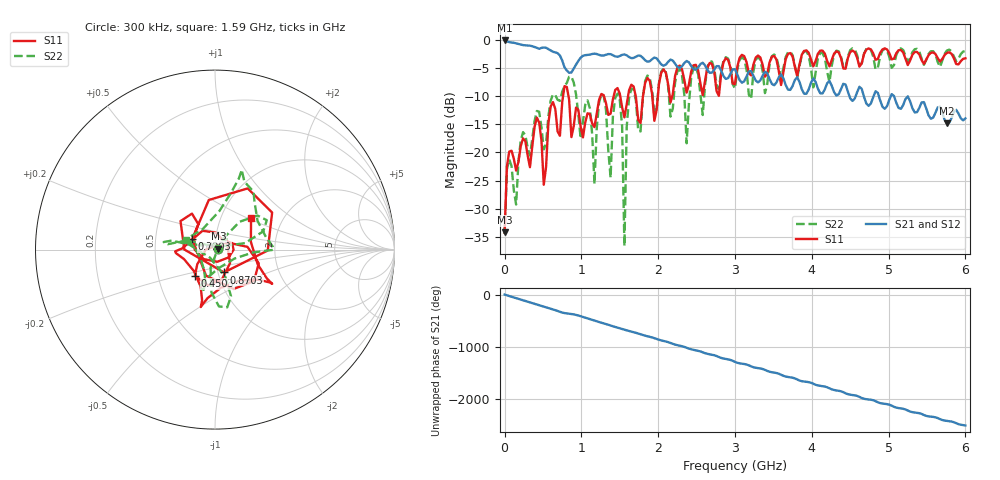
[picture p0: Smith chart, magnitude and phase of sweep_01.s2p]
! 2-port S-parameters written by miniscope-char acquisition
! instrument: Pico Technology Ltd,PicoVNA-106,10080,5.3.4
! transport: scpi
! endpoint: 127.0.0.1:5025
! demo: false
! calibration: user
! calibration_file: June 2026 Short cable calibration.calx
# HZ S RI R 50
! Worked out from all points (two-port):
!   201 points, 300 kHz to 6 GHz, reference 50 ohm
!   highest |S21| = -0.16 dB at 300 kHz (marker M1); lowest = -14.9 dB at 5.76 GHz (marker M2)
!   |S21| within 3 dB of the highest: start of sweep to 732 MHz; 995.7 MHz to 1.631 GHz (635.2 MHz wide, 48.4 % of centre)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
!   lowest |S11| = -34.2 dB at 300 kHz (marker M3), VSWR 1.04, Z = 51.9 + j0.454 ohm
!   |S11| at or under -10 dB: start of sweep to 761.9 MHz; 831.7 MHz to 1.25 GHz (418.2 MHz wide, 40.2 % of centre); 1.293 GHz to 1.421 GHz (128 MHz wide, 9.43 % of centre)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
!   |S22| runs from -36.6 to -1.5 dB; largest |S21 - S12| = 0.0074
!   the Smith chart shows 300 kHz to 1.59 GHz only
!   S11 on the Smith chart (normalised r, x): 300 kHz: 1.04, +0.01; 450.3 MHz: 0.77, -0.23; 720.3 MHz: 0.77, +0.09; 870.3 MHz: 1.07, -0.28; 1.59 GHz: 1.39, +0.52
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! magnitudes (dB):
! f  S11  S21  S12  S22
! 300 kHz  -34.2  -0.2  -0.2  -34.4
! 60.3 MHz  -19.9  -0.5  -0.5  -21.2
! 450.3 MHz  -14.7  -1.7  -1.6  -12.8
! 510.3 MHz  -25.7  -1.4  -1.4  -19.5
! 720.3 MHz  -17.1  -2.8  -2.8  -10.9
! 870.3 MHz  -17.3  -5.8  -5.8  -6.6
! 1.02 GHz  -17.3  -2.9  -2.9  -14.6
! 1.17 GHz  -15.5  -2.5  -2.5  -25.6
! 1.29 GHz  -9.9  -2.8  -2.8  -10.0
! 1.38 GHz  -13.1  -2.6  -2.6  -24.5
! 1.47 GHz  -8.6  -3.1  -3.1  -9.6
! 1.53 GHz  -12.0  -2.7  -2.7  -15.3
! 1.56 GHz  -13.8  -2.6  -2.6  -36.6
! 1.59 GHz  -11.5  -2.8  -2.8  -15.4
! 2.01 GHz  -7.9  -3.9  -3.8  -7.7
! 2.37 GHz  -9.4  -3.8  -3.8  -18.4
! 2.46 GHz  -4.6  -5.3  -5.2  -5.0
! 3 GHz  -7.9  -5.3  -5.3  -8.7
! 4.02 GHz  -4.7  -6.9  -6.9  -8.5
! 5.01 GHz  -2.4  -10.6  -10.7  -3.1
! 5.76 GHz  -2.4  -14.9  -14.8  -1.9
! 6 GHz  -3.3  -14.0  -14.0  -2.0
